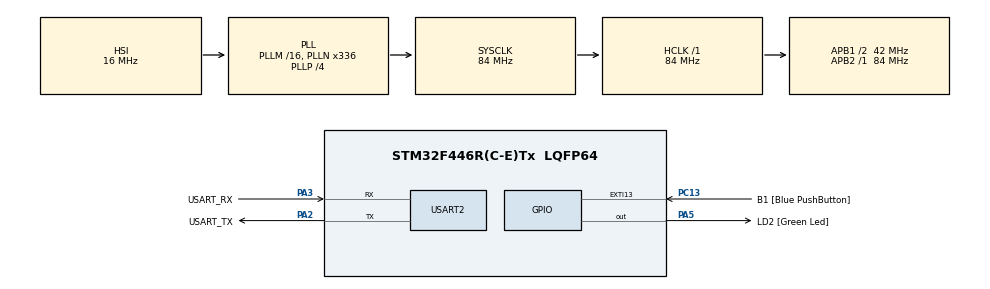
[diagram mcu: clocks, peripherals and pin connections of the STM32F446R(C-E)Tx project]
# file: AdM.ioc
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Mcu.Family=STM32F4
Mcu.Name=STM32F446R(C-E)Tx
Mcu.Package=LQFP64
NVIC.PriorityGroup=NVIC_PRIORITYGROUP_0
PA13.GPIO_Label=TMS
PA13.Mode=Serial_Wire
PA13.Signal=SYS_JTMS-SWDIO
PA14.GPIO_Label=TCK
PA14.Mode=Serial_Wire
PA14.Signal=SYS_JTCK-SWCLK
PA2.GPIO_Label=USART_TX
PA2.Mode=Asynchronous
PA2.Signal=USART2_TX
PA3.GPIO_Label=USART_RX
PA3.Mode=Asynchronous
PA3.Signal=USART2_RX
PA5.GPIO_Label=LD2 [Green Led]
PA5.Signal=GPIO_Output
PB3.GPIO_Label=SWO
PB3.Signal=SYS_JTDO-SWO
PC13.GPIO_Label=B1 [Blue PushButton]
PC13.GPIO_ModeDefaultEXTI=GPIO_MODE_IT_FALLING
PC13.Signal=GPXTI13
PC14-OSC32_IN.Mode=LSE-External-Oscillator
PC14-OSC32_IN.Signal=RCC_OSC32_IN
PC15-OSC32_OUT.Mode=LSE-External-Oscillator
PC15-OSC32_OUT.Signal=RCC_OSC32_OUT
PH0-OSC_IN.Mode=HSE-External-Oscillator
PH0-OSC_IN.Signal=RCC_OSC_IN
PH1-OSC_OUT.Mode=HSE-External-Oscillator
PH1-OSC_OUT.Signal=RCC_OSC_OUT
ProjectManager.HeapSize=0x200
ProjectManager.StackSize=0x400
ProjectManager.TargetToolchain=STM32CubeIDE
RCC.48MHZClocksFreq_Value=84000000
RCC.AHBFreq_Value=84000000
RCC.APB1CLKDivider=RCC_HCLK_DIV2
RCC.APB1Freq_Value=42000000
RCC.APB1TimFreq_Value=84000000
RCC.APB2Freq_Value=84000000
RCC.APB2TimFreq_Value=84000000
RCC.CortexFreq_Value=84000000
RCC.FLatency-AdvancedSettings=FLASH_LATENCY_2
RCC.HCLKFreq_Value=84000000
RCC.HSE_VALUE=8000000
RCC.HSI_VALUE=16000000
RCC.PLLN=336
RCC.PLLP=RCC_PLLP_DIV4
RCC.SYSCLKFreq_VALUE=84000000
RCC.SYSCLKSource=RCC_SYSCLKSOURCE_PLLCLK
RCC.USBFreq_Value=168000000
RCC.VCOOutputFreq_Value=336000000
USART2.VirtualMode=VM_ASYNC
board=NUCLEO-F446RE

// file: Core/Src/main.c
/* USER CODE BEGIN Header */
/**
  ******************************************************************************
  * @file           : main.c
  * @brief          : Main program body
  ******************************************************************************
  * @attention
  *
  * Copyright (c) 2025 STMicroelectronics.
  * All rights reserved.
  *
  * This software is licensed under terms that can be found in the LICENSE file
  * in the root directory of this software component.
  * If no LICENSE file comes with this software, it is provided AS-IS.
  *
  ******************************************************************************
  */
/* USER CODE END Header */
#include "main.h"

/* USER CODE BEGIN Includes */
#include "functions.h"
/* USER CODE END Includes */

UART_HandleTypeDef huart2;

void SystemClock_Config(void);
static void MX_GPIO_Init(void);
static void MX_USART2_UART_Init(void);

int main(void)
{

 /* USER CODE BEGIN 1 */

    /* ----------- Ejercicio 1 ----------- */
    uint16_t esc = 6;
    uint32_t vec[] = {1, 2, 3, 4, 5};
    uint32_t lon = sizeof(vec)/sizeof(vec[0]);
    uint32_t vecOut1[lon], vecOut2[lon];
    productoEscalar32(vec, vecOut1, lon, esc);
    asm_productoEscalar32(vec, vecOut2, lon, esc);

    /* ----------- Ejercicio 2 ----------- */
    uint16_t vec12[] = {100, 2000, 30, 400, 5000};
    uint32_t lon12 = sizeof(vec12)/sizeof(vec12[0]);
    uint16_t vecOut12_1[lon12], vecOut12_2[lon12];
    productoEscalar12(vec12, vecOut12_1, lon12, esc);
    asm_productoEscalar12(vec12, vecOut12_2, lon12, esc);

    /* ----------- Ejercicio 3 ----------- */
    uint32_t a = 1023; // 0000 0011 1111 1111
    uint32_t b = bitfield_clear(a, 5, 3);
    uint32_t c = asm_bitfield_clear(a, 5, 3);

    /* ----------- Ejercicio 4 ----------- */
    uint32_t dato = 947; // 0000 0011 1011 0011
    uint32_t d = bitfield_toggle(dato, 6, 2);
    uint32_t e = asm_bitfield_toggle(dato, 6, 2);

  /* USER CODE END 1 */

  /* MCU Configuration--------------------------------------------------------*/

  /* Reset of all peripherals, Initializes the Flash interface and the Systick. */
  HAL_Init();

  /* Configure the system clock */
  SystemClock_Config();

  /* Initialize all configured peripherals */
  MX_GPIO_Init();
  MX_USART2_UART_Init();

  /* Infinite loop */
  while (1)
  {

  }
}

void SystemClock_Config(void)
{
  RCC_OscInitTypeDef RCC_OscInitStruct = {0};
  RCC_ClkInitTypeDef RCC_ClkInitStruct = {0};

  /** Configure the main internal regulator output voltage
  */
  __HAL_RCC_PWR_CLK_ENABLE();
  __HAL_PWR_VOLTAGESCALING_CONFIG(PWR_REGULATOR_VOLTAGE_SCALE3);

  /** Initializes the RCC Oscillators according to the specified parameters
  * in the RCC_OscInitTypeDef structure.
  */
  RCC_OscInitStruct.OscillatorType = RCC_OSCILLATORTYPE_HSI;
  RCC_OscInitStruct.HSIState = RCC_HSI_ON;
  RCC_OscInitStruct.HSICalibrationValue = RCC_HSICALIBRATION_DEFAULT;
  RCC_OscInitStruct.PLL.PLLState = RCC_PLL_ON;
  RCC_OscInitStruct.PLL.PLLSource = RCC_PLLSOURCE_HSI;
  RCC_OscInitStruct.PLL.PLLM = 16;
  RCC_OscInitStruct.PLL.PLLN = 336;
  RCC_OscInitStruct.PLL.PLLP = RCC_PLLP_DIV4;
  RCC_OscInitStruct.PLL.PLLQ = 2;
  RCC_OscInitStruct.PLL.PLLR = 2;
  if (HAL_RCC_OscConfig(&RCC_OscInitStruct) != HAL_OK)
  {
    Error_Handler();
  }

  /** Initializes the CPU, AHB and APB buses clocks
  */
  RCC_ClkInitStruct.ClockType = RCC_CLOCKTYPE_HCLK|RCC_CLOCKTYPE_SYSCLK
                              |RCC_CLOCKTYPE_PCLK1|RCC_CLOCKTYPE_PCLK2;
  RCC_ClkInitStruct.SYSCLKSource = RCC_SYSCLKSOURCE_PLLCLK;
  RCC_ClkInitStruct.AHBCLKDivider = RCC_SYSCLK_DIV1;
  RCC_ClkInitStruct.APB1CLKDivider = RCC_HCLK_DIV2;
  RCC_ClkInitStruct.APB2CLKDivider = RCC_HCLK_DIV1;

  if (HAL_RCC_ClockConfig(&RCC_ClkInitStruct, FLASH_LATENCY_2) != HAL_OK)
  {
    Error_Handler();
  }
}

static void MX_USART2_UART_Init(void)
{

  huart2.Instance = USART2;
  huart2.Init.BaudRate = 115200;
  huart2.Init.WordLength = UART_WORDLENGTH_8B;
  huart2.Init.StopBits = UART_STOPBITS_1;
  huart2.Init.Parity = UART_PARITY_NONE;
  huart2.Init.Mode = UART_MODE_TX_RX;
  huart2.Init.HwFlowCtl = UART_HWCONTROL_NONE;
  huart2.Init.OverSampling = UART_OVERSAMPLING_16;
  if (HAL_UART_Init(&huart2) != HAL_OK)
  {
    Error_Handler();
  }

}

static void MX_GPIO_Init(void)
{
  GPIO_InitTypeDef GPIO_InitStruct = {0};

  /* GPIO Ports Clock Enable */
  __HAL_RCC_GPIOC_CLK_ENABLE();
  __HAL_RCC_GPIOH_CLK_ENABLE();
  __HAL_RCC_GPIOA_CLK_ENABLE();
  __HAL_RCC_GPIOB_CLK_ENABLE();

  /*Configure GPIO pin Output Level */
  HAL_GPIO_WritePin(LD2_GPIO_Port, LD2_Pin, GPIO_PIN_RESET);

  /*Configure GPIO pin : B1_Pin */
  GPIO_InitStruct.Pin = B1_Pin;
  GPIO_InitStruct.Mode = GPIO_MODE_IT_FALLING;
  GPIO_InitStruct.Pull = GPIO_NOPULL;
  HAL_GPIO_Init(B1_GPIO_Port, &GPIO_InitStruct);

  /*Configure GPIO pin : LD2_Pin */
  GPIO_InitStruct.Pin = LD2_Pin;
  GPIO_InitStruct.Mode = GPIO_MODE_OUTPUT_PP;
  GPIO_InitStruct.Pull = GPIO_NOPULL;
  GPIO_InitStruct.Speed = GPIO_SPEED_FREQ_LOW;
  HAL_GPIO_Init(LD2_GPIO_Port, &GPIO_InitStruct);

}

void Error_Handler(void)
{
  __disable_irq();
  while (1)
  {
  }
}
